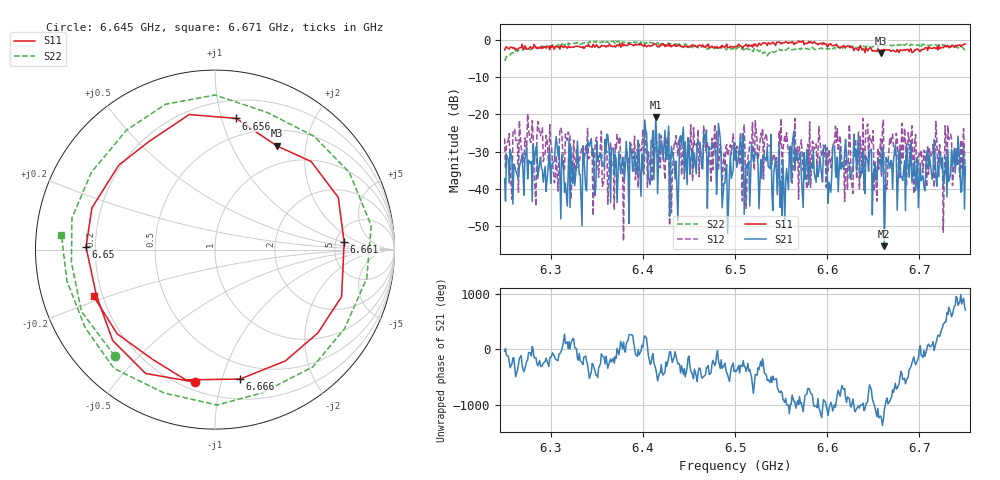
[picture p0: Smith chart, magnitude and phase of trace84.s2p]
# Hz S RI R 50
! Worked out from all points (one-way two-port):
!   401 points, 6.25 GHz to 6.75 GHz, reference 50 ohm
!   highest |S21| = -20.69 dB at 6.414 GHz (marker M1); lowest = -55.5 dB at 6.662 GHz (marker M2)
!   lowest |S11| = -3.4 dB at 6.658 GHz (marker M3), VSWR 5.11, Z = 35.8 + j75.6 ohm
!   |S11| at or under -10 dB: nowhere
!   |S22| runs from -5.6 to -0.1 dB; largest |S21 - S12| = 0.12
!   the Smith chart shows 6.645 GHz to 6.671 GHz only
!   S11 on the Smith chart (normalised r, x): 6.645 GHz: 0.25, -0.83; 6.65 GHz: 0.16, +0.01; 6.656 GHz: 0.34, +1.11; 6.661 GHz: 5.98, +1.03; 6.666 GHz: 0.36, -1.14; 6.671 GHz: 0.17, -0.18
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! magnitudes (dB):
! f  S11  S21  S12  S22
! 6.25 GHz  -2.6  -37.3  -26.5  -5.6
! 6.334 GHz  -2.0  -49.9  -28.7  -1.0
! 6.414 GHz  -1.0  -20.7  -28.3  -1.1
! 6.418 GHz  -1.8  -25.2  -29.6  -1.5
! 6.431 GHz  -1.8  -28.6  -46.5  -1.2
! 6.439 GHz  -1.4  -36.6  -26.9  -0.6
! 6.5 GHz  -1.9  -32.3  -27.8  -1.9
! 6.551 GHz  -0.7  -47.2  -37.3  -2.8
! 6.561 GHz  -0.7  -38.1  -28.8  -2.6
! 6.584 GHz  -0.9  -34.6  -27.2  -1.9
! 6.611 GHz  -1.4  -31.5  -23.8  -1.9
! 6.62 GHz  -1.8  -26.7  -32.8  -2.2
! 6.645 GHz  -2.5  -35.3  -31.9  -1.8
! 6.65 GHz  -2.9  -35.7  -24.3  -1.8
! 6.656 GHz  -2.6  -32.2  -34.7  -1.5
! 6.658 GHz  -3.4  -32.1  -26.6  -1.3
! 6.661 GHz  -2.8  -30.4  -21.5  -1.5
! 6.662 GHz  -2.5  -55.5  -43.4  -1.4
! 6.666 GHz  -2.7  -32.1  -33.2  -1.4
! 6.668 GHz  -2.6  -34.5  -26.3  -1.2
! 6.671 GHz  -2.8  -40.2  -25.3  -1.3
! 6.75 GHz  -1.1  -34.0  -35.1  -2.5
